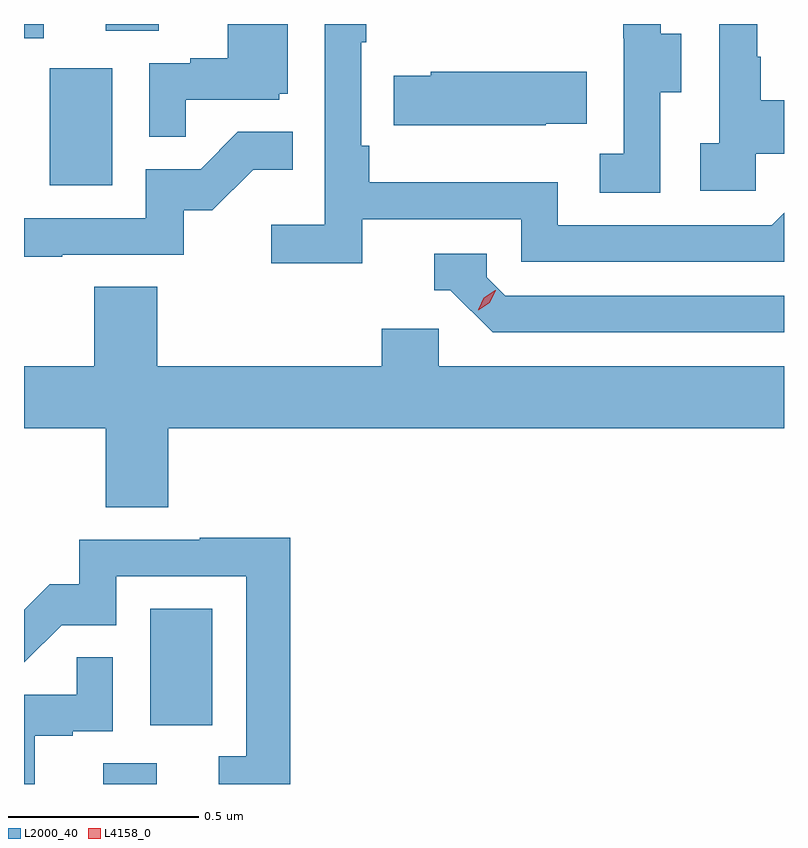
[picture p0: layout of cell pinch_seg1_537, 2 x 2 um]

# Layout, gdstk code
import gdstk
lib = gdstk.Library(unit=1e-6, precision=1e-09)
def R(c, l, rs):  # rectangles x0, y0, x1, y1
    for r in rs: c.add(gdstk.rectangle(r[:2], r[2:], *l))
def P(c, l, *ps):  # polygons
    for p in ps: c.add(gdstk.Polygon(p, *l))
L2000_40 = (2000, 40)
L4158_0 = (4158, 0)

pinch_seg1_537 = lib.new_cell('pinch_seg1_537')
R(pinch_seg1_537, L2000_40, [(1061.675,540.14,1061.815,540.194), (1061.798,540.294,1061.962,540.601), (1061.534,541.716,1061.698,542.023), (1061.466,542.103,1061.518,542.14), (1061.681,542.122,1061.821,542.14)])
P(pinch_seg1_537, L2000_40, [(1062.356,541.626),(1062.774,541.626),(1062.774,541.515),(1063.466,541.515),(1063.466,541.643),(1063.434,541.611),(1062.87,541.611),(1062.87,541.723),(1062.374,541.723),(1062.374,541.819),(1062.354,541.819),(1062.354,542.092),(1062.367,542.092),(1062.367,542.14),(1062.258,542.14),(1062.258,541.612),(1062.117,541.612),(1062.117,541.51),(1062.356,541.51)],
  [(1063.14,541.96),(1063.195,541.96),(1063.195,542.115),(1063.141,542.115),(1063.141,542.14),(1063.043,542.14),(1063.043,542.103),(1063.044,542.103),(1063.044,541.799),(1062.981,541.799),(1062.981,541.696),(1063.14,541.696)],
  [(1063.392,541.799),(1063.466,541.799),(1063.466,541.939),(1063.405,541.939),(1063.405,542.054),(1063.395,542.054),(1063.395,542.14),(1063.296,542.14),(1063.296,541.826),(1063.245,541.826),(1063.245,541.701),(1063.392,541.701)],
  [(1061.891,541.941),(1062.138,541.941),(1062.138,541.956),(1062.16,541.956),(1062.16,542.14),(1062.002,542.14),(1062.002,542.05),(1061.903,542.05),(1061.903,542.037),(1061.796,542.037),(1061.796,541.843),(1061.891,541.843)],
  [(1062.839,541.877),(1062.947,541.877),(1062.947,542.014),(1062.537,542.014),(1062.537,542.004),(1062.439,542.004),(1062.439,541.874),(1062.839,541.874)],
  [(1061.567,541.533),(1061.886,541.533),(1061.886,541.65),(1061.962,541.65),(1062.069,541.757),(1062.173,541.757),(1062.173,541.856),(1062.029,541.856),(1061.931,541.758),(1061.787,541.758),(1061.787,541.629),(1061.466,541.629),(1061.466,541.528),(1061.567,541.528)],
  [(1063.466,541.425),(1062.732,541.425),(1062.684,541.473),(1062.684,541.536),(1062.545,541.536),(1062.545,541.44),(1062.588,541.44),(1062.699,541.329),(1063.466,541.329)],
  [(1061.846,541.076),(1063.466,541.076),(1063.466,541.24),(1062.558,541.24),(1062.558,541.338),(1062.407,541.338),(1062.407,541.24),(1061.816,541.24),(1061.816,541.448),(1061.651,541.448),(1061.651,541.24),(1061.466,541.24),(1061.466,541.076),(1061.681,541.076),(1061.681,540.868),(1061.846,540.868)],
  [(1062.167,540.788),(1061.929,540.788),(1061.929,540.783),(1061.611,540.783),(1061.611,540.666),(1061.534,540.666),(1061.466,540.598),(1061.466,540.46),(1061.467,540.46),(1061.565,540.558),(1061.709,540.558),(1061.709,540.687),(1062.051,540.687),(1062.051,540.213),(1061.979,540.213),(1061.979,540.14),(1062.167,540.14)],
  [(1061.494,540.267),(1061.594,540.267),(1061.594,540.279),(1061.7,540.279),(1061.7,540.473),(1061.605,540.473),(1061.605,540.375),(1061.466,540.375),(1061.466,540.14),(1061.494,540.14)])
P(pinch_seg1_537, L4158_0, [(1062.661,541.387),(1062.661,541.388),(1062.676,541.42),(1062.706,541.44),(1062.707,541.44),(1062.707,541.44),(1062.691,541.407),(1062.661,541.387)])

lib.write_gds('pinch_seg1_537.gds')
